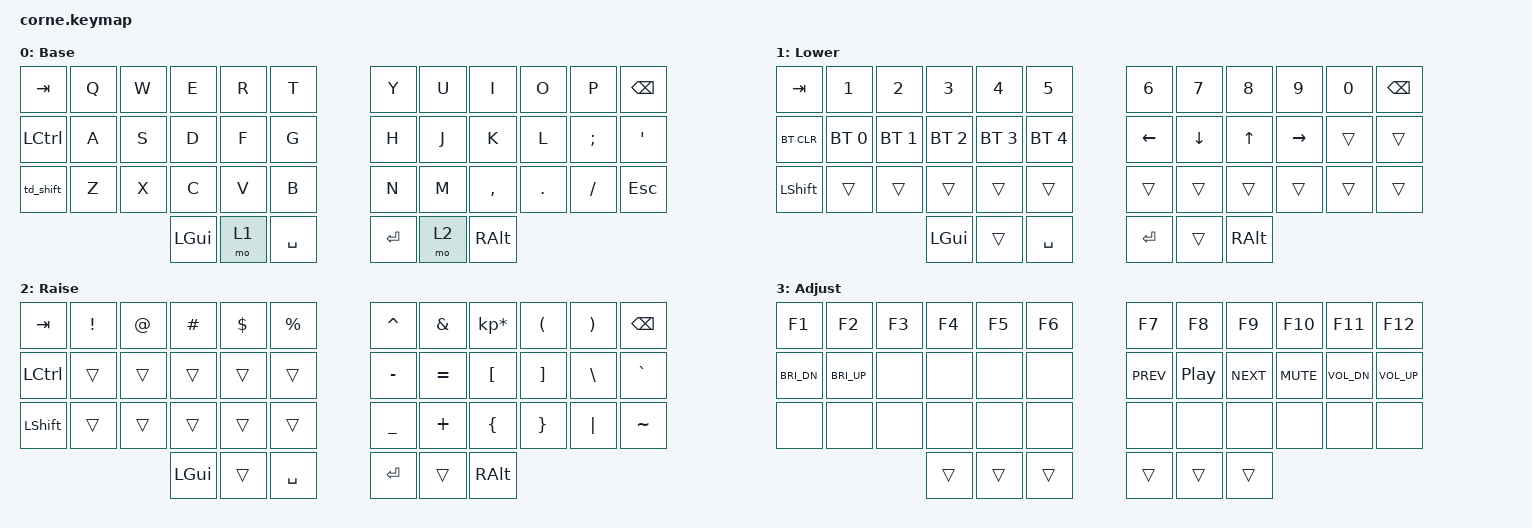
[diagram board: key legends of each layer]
/*
 * Copyright (c) 2020 The ZMK Contributors
 *
 * SPDX-License-Identifier: MIT
 */

#include <behaviors.dtsi>
#include <dt-bindings/zmk/keys.h>
#include <dt-bindings/zmk/bt.h>

/ {
        behaviors {
                // Shift: tap/hold = normal Shift, double-tap = Caps Word
                td_shift: tap_dance_shift {
                        compatible = "zmk,behavior-tap-dance";
                        #binding-cells = <0>;
                        tapping-term-ms = <200>;
                        bindings = <&kp LSHFT>, <&caps_word>;
                };
        };

        // Hold Lower + Raise together -> Adjust (layer 3)
        conditional_layers {
                compatible = "zmk,conditional-layers";
                tri_layer {
                        if-layers = <1 2>;
                        then-layer = <3>;
                };
        };

        keymap {
                compatible = "zmk,keymap";

                default_layer {
// -----------------------------------------------------------------------------------------
// |  TAB |  Q  |  W  |  E  |  R  |  T  |   |  Y  |  U   |  I  |  O  |  P  | BKSP |
// | CTRL |  A  |  S  |  D  |  F  |  G  |   |  H  |  J   |  K  |  L  |  ;  |  '   |
// | SHFT |  Z  |  X  |  C  |  V  |  B  |   |  N  |  M   |  ,  |  .  |  /  | ESC  |
//                    | GUI | LWR | SPC |   | ENT | RSE  | ALT |
// * SHFT: tap or hold = Shift, double-tap = Caps Word
                        display-name = "Base";
                        bindings = <
   &kp TAB   &kp Q &kp W &kp E &kp R &kp T   &kp Y &kp U  &kp I     &kp O   &kp P    &kp BSPC
   &kp LCTRL &kp A &kp S &kp D &kp F &kp G   &kp H &kp J  &kp K     &kp L   &kp SEMI &kp SQT
   &td_shift &kp Z &kp X &kp C &kp V &kp B   &kp N &kp M  &kp COMMA &kp DOT &kp FSLH &kp ESC
                  &kp LGUI &mo 1 &kp SPACE   &kp RET &mo 2 &kp RALT
                        >;
                };
                lower_layer {
// -----------------------------------------------------------------------------------------
// |  TAB |  1  |  2  |  3  |  4  |  5  |   |  6  |  7  |  8  |  9  |  0  | BKSP |
// | BTCLR| BT1 | BT2 | BT3 | BT4 | BT5 |   | LFT | DWN |  UP | RGT |     |      |
// | SHFT |     |     |     |     |     |   |     |     |     |     |     |      |
//                    | GUI |     | SPC |   | ENT |     | ALT |
                        display-name = "Lower";
                        bindings = <
   &kp TAB    &kp N1       &kp N2       &kp N3       &kp N4       &kp N5         &kp N6   &kp N7   &kp N8 &kp N9    &kp N0 &kp BSPC
   &bt BT_CLR &bt BT_SEL 0 &bt BT_SEL 1 &bt BT_SEL 2 &bt BT_SEL 3 &bt BT_SEL 4   &kp LEFT &kp DOWN &kp UP &kp RIGHT &trans &trans
   &kp LSHFT  &trans       &trans       &trans       &trans       &trans         &trans   &trans   &trans &trans    &trans &trans
                          	        &kp LGUI     &trans       &kp SPACE      &kp RET  &trans   &kp RALT
                        >;
                };

                raise_layer {
// -----------------------------------------------------------------------------------------
// |  TAB |  !  |  @  |  #  |  $  |  %  |   |  ^  |  &  |  *  |  (  |  )  | BKSP |
// | CTRL |     |     |     |     |     |   |  -  |  =  |  [  |  ]  |  \  |  `   |
// | SHFT |     |     |     |     |     |   |  _  |  +  |  {  |  }  | "|" |  ~   |
//                    | GUI |     | SPC |   | ENT |     | ALT |
                        display-name = "Raise";
                        bindings = <
   &kp  TAB  &kp EXCL &kp AT &kp HASH &kp DLLR &kp PRCNT   &kp CARET &kp AMPS  &kp KP_MULTIPLY &kp LPAR &kp RPAR &kp BSPC
   &kp LCTRL &trans   &trans &trans   &trans   &trans      &kp MINUS &kp EQUAL &kp LBKT        &kp RBKT &kp BSLH &kp GRAVE
   &kp LSHFT &trans   &trans &trans   &trans   &trans      &kp UNDER &kp PLUS  &kp LBRC        &kp RBRC &kp PIPE &kp TILDE
                    	     &kp LGUI &trans   &kp SPACE   &kp RET   &trans    &kp RALT
                        >;
                };

                adjust_layer {
// -----------------------------------------------------------------------------------------
// |  F1  |  F2  |  F3  |  F4  |  F5  |  F6  |   |  F7  |  F8  |  F9  |  F10 |  F11 |  F12 |
// | BRI- | BRI+ |      |      |      |      |   | PREV | PLAY | NEXT | MUTE | VOL- | VOL+ |
// |      |      |      |      |      |      |   |      |      |      |      |      |      |
//                    |     |  (held) |     |   |     | (held) |     |
// Row 2 mirrors the Mac F-row: each media key sits under the F-key that does it on Apple keyboards.
                        display-name = "Adjust";
                        bindings = <
   &kp F1      &kp F2      &kp F3 &kp F4 &kp F5 &kp F6   &kp F7  &kp F8 &kp F9  &kp F10  &kp F11    &kp F12
   &kp C_BRI_DN &kp C_BRI_UP &none &none  &none  &none    &kp C_PREV &kp C_PP &kp C_NEXT &kp C_MUTE &kp C_VOL_DN &kp C_VOL_UP
   &none       &none       &none  &none  &none  &none    &none   &none  &none   &none    &none      &none
                          &trans &trans &trans   &trans &trans &trans
                        >;
                };

                extra_2 {
                        status = "reserved";
                };

                extra_3 {
                        status = "reserved";
                };
        };
};
